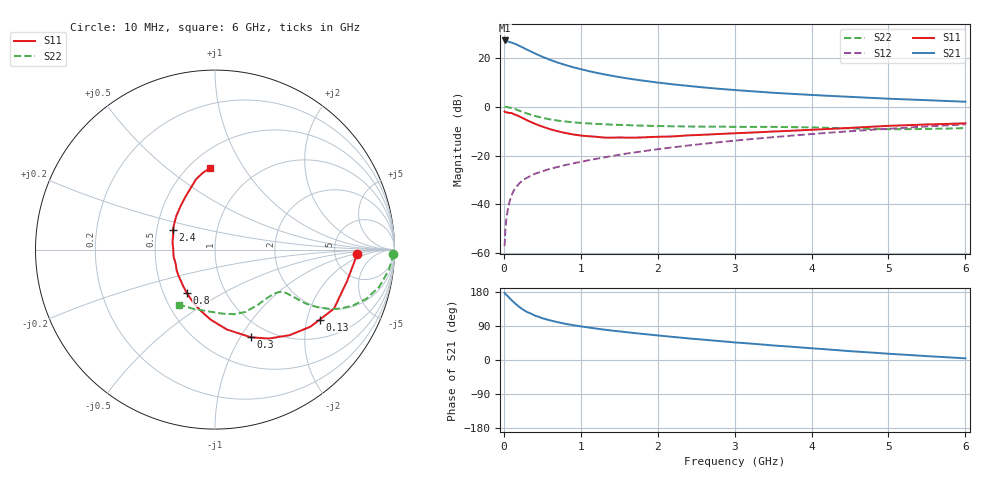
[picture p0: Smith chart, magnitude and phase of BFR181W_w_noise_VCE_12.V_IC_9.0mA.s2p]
! Infineon Technologies  Discrete & RF Semiconductors
! BFR181W
! VCE =  12. V,  IC =  9.0 mA
! Common Emitter S-Parameters:  Jan 2017
# GHz  S  MA  R  50
!  f  S11  S21  S12  S22
! GHz  MAG  ANG  MAG  ANG  MAG  ANG  MAG  ANG
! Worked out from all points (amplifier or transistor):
!   77 points, 10 MHz to 6 GHz, reference 50 ohm
!   highest |S21| = 27.1 dB at 10 MHz (marker M1)
!   |S21| within 3 dB of that: start of sweep to 253.9 MHz
!   unconditionally stable (mu >= 1): 1.159 GHz to 3.093 GHz
!   at 130 MHz: K = 0.25, MSG = 30.1 dB, |S12| = -34.3 dB
!   at 2.2 GHz: K = 1.05, MAG = 11.5 dB, |S12| = -16.6 dB
!   at 6 GHz: K = 0.86, MSG = 4.6 dB, |S12| = -7.2 dB
!   lowest NFmin = 1.18 dB at 450 MHz
!   S11 on the Smith chart (normalised r, x): 10 MHz: 8.58, -1.03; 130 MHz: 1.56, -2.40; 300 MHz: 0.82, -1.11; 800 MHz: 0.66, -0.35; 2.4 GHz: 0.61, +0.15; 6 GHz: 0.63, +0.72
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0.01  0.794 -1.6  22.59 177.0  0.0014 65.4  0.9901 -1.3
0.02  0.7742 -6.4  22.01 174.3  0.0031 90.0  0.99 -2.5
0.03  0.7671 -8.7  21.84 172.4  0.0046 84.8  0.9846 -3.9
0.05  0.7566 -13.4  21.57 168.5  0.0075 80.5  0.9757 -6.7
0.1  0.74 -26.4  20.49 158.0  0.0153 75.3  0.937 -12.9
0.13  0.7021 -33.7  19.63 152.5  0.0192 73.3  0.9054 -15.9
0.15  0.6837 -38.9  19.16 148.6  0.0218 72.3  0.8858 -18.1
0.2  0.6323 -49.0  17.57 140.1  0.0267 68.3  0.8288 -22.1
0.25  0.5788 -58.9  16.11 132.9  0.0317 65.2  0.7756 -25.0
0.3  0.5283 -67.7  14.67 126.9  0.035 62.5  0.7257 -27.2
0.4  0.4507 -81.4  12.35 117.5  0.0421 61.5  0.6475 -29.5
0.5  0.3908 -93.6  10.48 110.3  0.0475 61.0  0.5902 -30.7
0.6  0.3465 -104.2  9.085 104.6  0.0536 60.7  0.5498 -31.0
0.8  0.2894 -122.7  7.123 95.5  0.0639 62.7  0.4968 -31.1
1.1  0.2487 -145.7  5.354 85.8  0.08 64.5  0.4543 -31.7
1.5  0.2342 -170.0  4.029 75.6  0.1034 65.6  0.4237 -34.2
2.1  0.2436 164.3  2.984 62.9  0.141 65.3  0.3994 -41.4
2.4  0.2589 154.4  2.652 57.0  0.1608 64.6  0.3929 -46.1
3.1  0.2896 136.7  2.133 45.0  0.2086 61.8  0.3861 -57.6
4.1  0.3423 117.8  1.704 29.5  0.2826 55.8  0.3729 -74.5
5.1  0.41 104.0  1.434 15.3  0.3611 48.1  0.3455 -98.7
6  0.4554 93.4  1.262 4.4  0.4343 40.1  0.3649 -122.9
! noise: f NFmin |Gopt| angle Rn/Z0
0.45  1.18  0.17  16  0.21
0.9  1.23  0.16  31  0.21
1.9  1.65  0.05  107  0.2
2.4  1.82  0.03  116  0.23
